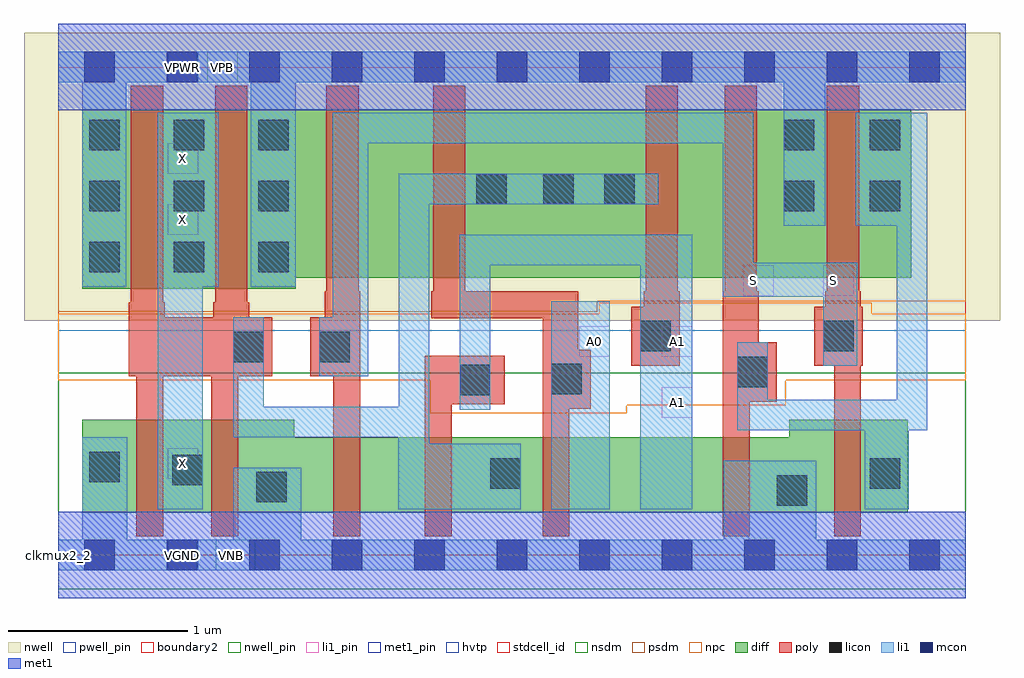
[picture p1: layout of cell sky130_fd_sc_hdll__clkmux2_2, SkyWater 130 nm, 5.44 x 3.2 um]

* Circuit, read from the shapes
.subckt sky130_fd_sc_hdll__clkmux2_2 A0 A1 S VGND VNB VPB VPWR X
XM1 X n1 VGND VNB sky130_fd_pr__nfet_01v8 w=0.52 l=0.15 m=2
XM2 n2 S VGND VNB sky130_fd_pr__nfet_01v8 w=0.42 l=0.15
XM3 n1 A1 n2 VNB sky130_fd_pr__nfet_01v8 w=0.42 l=0.15
XM4 n3 A0 n1 VNB sky130_fd_pr__nfet_01v8 w=0.42 l=0.15
XM5 VGND n4 n3 VNB sky130_fd_pr__nfet_01v8 w=0.42 l=0.15
XM6 n4 S VGND VNB sky130_fd_pr__nfet_01v8 w=0.52 l=0.15
XM7 X n1 VPWR VPB sky130_fd_pr__pfet_01v8_hvt w=1 l=0.18 m=2
XM8 n5 S VPWR VPB sky130_fd_pr__pfet_01v8_hvt w=0.94 l=0.18
XM9 n1 A0 n5 VPB sky130_fd_pr__pfet_01v8_hvt w=0.94 l=0.18
XM10 n6 A1 n1 VPB sky130_fd_pr__pfet_01v8_hvt w=0.94 l=0.18
XM11 VPWR n4 n6 VPB sky130_fd_pr__pfet_01v8_hvt w=0.94 l=0.18
XM12 n4 S VPWR VPB sky130_fd_pr__pfet_01v8_hvt w=0.94 l=0.18
.ends

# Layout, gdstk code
import gdstk
lib = gdstk.Library(unit=1e-6, precision=1e-09)
def R(c, l, rs):  # rectangles x0, y0, x1, y1
    for r in rs: c.add(gdstk.rectangle(r[:2], r[2:], *l))
def A(c, l, x, y, w, h, nx, ny, dx, dy):  # array of equal rectangles
    R(c, l, [(x+i*dx, y+j*dy, x+i*dx+w, y+j*dy+h) for i in range(nx) for j in range(ny)])
def P(c, l, *ps):  # polygons
    for p in ps: c.add(gdstk.Polygon(p, *l))
nwell_pin = (64, 16)
nwell = (64, 20)
diff = (65, 20)
poly = (66, 20)
licon = (66, 44)
li1_pin = (67, 16)
li1 = (67, 20)
mcon = (67, 44)
met1_pin = (68, 16)
met1 = (68, 20)
hvtp = (78, 44)
stdcell_id = (81, 4)
nsdm = (93, 44)
psdm = (94, 20)
npc = (95, 20)
pwell_pin = (122, 16)
boundary2 = (236, 0)

sky130_fd_sc_hdll__clkmu = lib.new_cell('sky130_fd_sc_hdll__clkmux2_2')
R(sky130_fd_sc_hdll__clkmu, nwell_pin, [(0.83,2.635,1,2.805)])
R(sky130_fd_sc_hdll__clkmu, nwell, [(-0.19,1.305,5.25,2.91)])
P(sky130_fd_sc_hdll__clkmu, diff, [(4.735,0.755),(4.075,0.755),(4.075,0.655),(1.315,0.655),(1.315,0.755),(0.135,0.755),(0.135,0.235),(4.735,0.235)],
  [(4.755,2.485),(0.135,2.485),(0.135,1.485),(1.325,1.485),(1.325,1.545),(4.755,1.545)])
R(sky130_fd_sc_hdll__clkmu, poly, [(4.325,0.105,4.475,1.055), (4.215,1.055,4.485,1.385)])
P(sky130_fd_sc_hdll__clkmu, poly, [(1.685,1.47),(1.675,1.47),(1.675,2.615),(1.495,2.615),(1.495,1.47),(1.485,1.47),(1.485,1.325),(1.405,1.325),(1.405,0.995),(1.535,0.995),(1.535,0.105),(1.685,0.105)],
  [(2.49,1.11),(2.045,1.11),(2.045,0.105),(2.195,0.105),(2.195,0.84),(2.49,0.84)],
  [(2.97,1.145),(2.9,1.145),(2.9,1.47),(2.27,1.47),(2.27,2.615),(2.09,2.615),(2.09,1.47),(2.08,1.47),(2.08,1.32),(2.7,1.32),(2.7,0.105),(2.85,0.105),(2.85,0.815),(2.97,0.815)],
  [(3.465,1.47),(3.455,1.47),(3.455,2.615),(3.275,2.615),(3.275,1.47),(3.265,1.47),(3.265,1.385),(3.195,1.385),(3.195,1.055),(3.465,1.055)],
  [(4.005,1.185),(3.905,1.185),(3.905,1.47),(3.895,1.47),(3.895,2.615),(3.715,2.615),(3.715,1.47),(3.705,1.47),(3.705,0.105),(3.855,0.105),(3.855,0.855),(4.005,0.855)],
  [(1.195,1.325),(1.065,1.325),(1.065,1.41),(1.055,1.41),(1.055,2.615),(0.875,2.615),(0.875,1.41),(0.865,1.41),(0.865,1.325),(0.595,1.325),(0.595,1.41),(0.585,1.41),(0.585,2.615),(0.405,2.615),(0.405,1.41),(0.395,1.41),(0.395,0.995),(0.435,0.995),(0.435,0.105),(0.585,0.105),(0.585,0.995),(0.855,0.995),(0.855,0.105),(1.005,0.105),(1.005,0.995),(1.195,0.995)],
  [(4.475,1.47),(4.465,1.47),(4.465,2.615),(4.285,2.615),(4.285,1.47),(4.275,1.47),(4.275,1.385),(4.475,1.385)])
A(sky130_fd_sc_hdll__clkmu, licon, 0.175, 1.575, 0.17, 0.17, 3, 3, 0.47, 0.34)
R(sky130_fd_sc_hdll__clkmu, licon, [(4.005,0.275,4.175,0.445), (1.105,0.295,1.275,0.465), (2.41,0.37,2.58,0.54), (4.525,0.37,4.695,0.54), (0.635,0.39,0.805,0.56), (0.175,0.405,0.345,0.575), (2.24,0.89,2.41,1.06), (2.75,0.895,2.92,1.065), (3.785,0.935,3.955,1.105), (0.975,1.075,1.145,1.245), (1.455,1.075,1.625,1.245), (3.245,1.135,3.415,1.305), (4.265,1.135,4.435,1.305), (4.045,1.915,4.215,2.085), (4.525,1.915,4.695,2.085), (2.33,1.955,2.5,2.125), (2.705,1.955,2.875,2.125), (3.045,1.955,3.215,2.125), (4.045,2.255,4.215,2.425), (4.525,2.255,4.695,2.425)])
R(sky130_fd_sc_hdll__clkmu, li1_pin, [(0.61,0.425,0.78,0.595), (3.365,0.765,3.535,0.935), (2.905,1.105,3.075,1.275), (3.365,1.105,3.535,1.275), (3.82,1.445,3.99,1.615), (4.265,1.445,4.435,1.615), (0.61,1.785,0.78,1.955), (0.61,2.125,0.78,2.295)])
R(sky130_fd_sc_hdll__clkmu, li1, [(2.75,0.255,3.075,1.415)])
P(sky130_fd_sc_hdll__clkmu, li1, [(5.06,0.085),(4.225,0.085),(4.225,0.525),(3.71,0.525),(3.71,0.085),(1.355,0.085),(1.355,0.485),(0.975,0.485),(0.975,0.085),(0.385,0.085),(0.385,0.655),(0.135,0.655),(0.135,0.085),(0,0.085),(0,-0.085),(5.06,-0.085)],
  [(0.895,2.465),(0.555,2.465),(0.555,0.255),(0.805,0.255),(0.805,1.495),(0.895,1.495)],
  [(3.345,2.125),(1.9,2.125),(1.9,0.825),(1.145,0.825),(1.145,1.325),(0.975,1.325),(0.975,0.655),(1.895,0.655),(1.895,0.255),(2.58,0.255),(2.58,0.62),(2.07,0.62),(2.07,1.955),(3.345,1.955)],
  [(3.535,1.785),(2.24,1.785),(2.24,0.81),(2.41,0.81),(2.41,1.615),(3.245,1.615),(3.245,0.255),(3.535,0.255)],
  [(4.845,2.465),(4.445,2.465),(4.445,1.835),(4.675,1.835),(4.675,0.865),(3.955,0.865),(3.955,1.185),(3.785,1.185),(3.785,0.695),(4.495,0.695),(4.495,0.255),(4.74,0.255),(4.74,0.695),(4.845,0.695)],
  [(5.06,2.805),(0,2.805),(0,2.635),(0.135,2.635),(0.135,1.495),(0.38,1.495),(0.38,2.635),(1.075,2.635),(1.075,1.495),(1.325,1.495),(1.325,2.635),(4.045,2.635),(4.045,1.835),(4.275,1.835),(4.275,2.635),(5.06,2.635)],
  [(4.455,1.63),(3.875,1.63),(3.875,2.465),(1.53,2.465),(1.53,1.325),(1.455,1.325),(1.455,0.995),(1.73,0.995),(1.73,2.295),(3.705,2.295),(3.705,1.44),(4.265,1.44),(4.265,1.055),(4.455,1.055)])
A(sky130_fd_sc_hdll__clkmu, mcon, 0.145, -0.085, 0.17, 0.17, 11, 2, 0.46, 2.72)
R(sky130_fd_sc_hdll__clkmu, met1_pin, [(0.61,-0.085,0.78,0.085), (0.61,2.635,0.78,2.805)])
R(sky130_fd_sc_hdll__clkmu, met1, [(0,-0.24,5.06,0.24), (0,2.48,5.06,2.96)])
R(sky130_fd_sc_hdll__clkmu, hvtp, [(0,1.25,5.06,2.72)])
R(sky130_fd_sc_hdll__clkmu, stdcell_id, [(0,0,5.06,2.72)])
R(sky130_fd_sc_hdll__clkmu, nsdm, [(0,-0.19,5.06,1.015)])
P(sky130_fd_sc_hdll__clkmu, psdm, [(5.06,2.91),(0,2.91),(0,1.355),(3.005,1.355),(3.005,1.415),(5.06,1.415)])
P(sky130_fd_sc_hdll__clkmu, npc, [(5.06,1.345),(4.535,1.345),(4.535,1.405),(3.015,1.405),(3.015,1.345),(0,1.345),(0,0.975),(2.075,0.975),(2.075,0.79),(3.17,0.79),(3.17,0.835),(4.055,0.835),(4.055,0.975),(5.06,0.975)])
R(sky130_fd_sc_hdll__clkmu, pwell_pin, [(0.88,-0.085,1.1,0.085)])
R(sky130_fd_sc_hdll__clkmu, boundary2, [(0,0,5.06,2.72)])
sky130_fd_sc_hdll__clkmu.add(gdstk.Label('VGND', (0.695,0), layer=68, texttype=5))
sky130_fd_sc_hdll__clkmu.add(gdstk.Label('VPWR', (0.695,2.72), layer=68, texttype=5))
sky130_fd_sc_hdll__clkmu.add(gdstk.Label('S', (3.875,1.53), layer=67, texttype=5))
sky130_fd_sc_hdll__clkmu.add(gdstk.Label('A1', (3.45,0.85), layer=67, texttype=5))
sky130_fd_sc_hdll__clkmu.add(gdstk.Label('A1', (3.45,1.19), layer=67, texttype=5))
sky130_fd_sc_hdll__clkmu.add(gdstk.Label('A0', (2.99,1.19), layer=67, texttype=5))
sky130_fd_sc_hdll__clkmu.add(gdstk.Label('X', (0.695,0.51), layer=67, texttype=5))
sky130_fd_sc_hdll__clkmu.add(gdstk.Label('X', (0.695,1.87), layer=67, texttype=5))
sky130_fd_sc_hdll__clkmu.add(gdstk.Label('X', (0.695,2.21), layer=67, texttype=5))
sky130_fd_sc_hdll__clkmu.add(gdstk.Label('S', (4.32,1.53), layer=67, texttype=5))
sky130_fd_sc_hdll__clkmu.add(gdstk.Label('VPB', (0.915,2.72), layer=64, texttype=5))
sky130_fd_sc_hdll__clkmu.add(gdstk.Label('VNB', (0.965,0), layer=64, texttype=59))
sky130_fd_sc_hdll__clkmu.add(gdstk.Label('clkmux2_2', (0,0), layer=83, texttype=44))

lib.write_gds('sky130_fd_sc_hdll__clkmux2_2.gds')
